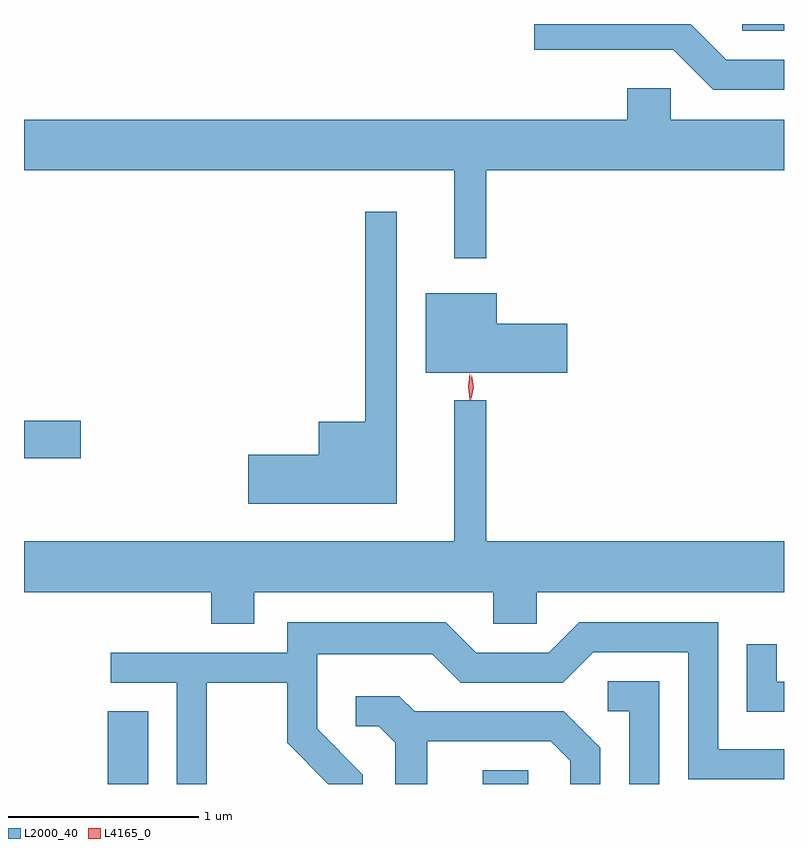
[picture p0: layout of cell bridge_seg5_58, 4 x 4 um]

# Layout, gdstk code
import gdstk
lib = gdstk.Library(unit=1e-6, precision=1e-09)
def R(c, l, rs):  # rectangles x0, y0, x1, y1
    for r in rs: c.add(gdstk.rectangle(r[:2], r[2:], *l))
def P(c, l, *ps):  # polygons
    for p in ps: c.add(gdstk.Polygon(p, *l))
L2000_40 = (2000, 40)
L4165_0 = (4165, 0)

bridge_seg5_58 = lib.new_cell('bridge_seg5_58')
R(bridge_seg5_58, L2000_40, [(1269.426,1464.667,1269.639,1465.049), (1271.401,1464.667,1271.639,1464.739), (1268.986,1466.381,1269.284,1466.579), (1272.766,1468.631,1272.986,1468.667)])
P(bridge_seg5_58, L2000_40, [(1272.986,1468.479),(1272.682,1468.479),(1272.494,1468.667),(1271.671,1468.667),(1271.671,1468.531),(1272.404,1468.531),(1272.614,1468.321),(1272.986,1468.321)],
  [(1271.419,1467.896),(1272.986,1467.896),(1272.986,1468.164),(1272.389,1468.164),(1272.389,1468.329),(1272.161,1468.329),(1272.161,1468.164),(1268.986,1468.164),(1268.986,1467.896),(1271.251,1467.896),(1271.251,1467.433),(1271.419,1467.433)],
  [(1270.949,1467.678),(1270.781,1467.678),(1270.781,1466.574),(1270.536,1466.574),(1270.536,1466.399),(1270.166,1466.399),(1270.166,1466.141),(1270.949,1466.141)],
  [(1271.844,1467.089),(1271.474,1467.089),(1271.474,1467.249),(1271.101,1467.249),(1271.101,1466.831),(1271.844,1466.831)],
  [(1270.199,1465.676),(1271.456,1465.676),(1271.456,1465.511),(1271.684,1465.511),(1271.684,1465.676),(1272.986,1465.676),(1272.986,1465.944),(1271.419,1465.944),(1271.419,1466.688),(1271.251,1466.688),(1271.251,1465.944),(1268.986,1465.944),(1268.986,1465.676),(1269.971,1465.676),(1269.971,1465.511),(1270.199,1465.511)],
  [(1269.949,1465.201),(1270.371,1465.201),(1270.371,1464.884),(1270.588,1464.667),(1270.769,1464.667),(1270.769,1464.717),(1270.529,1464.957),(1270.529,1465.351),(1271.134,1465.351),(1271.284,1465.201),(1271.822,1465.201),(1271.982,1465.361),(1272.481,1465.361),(1272.481,1464.691),(1272.986,1464.691),(1272.986,1464.849),(1272.639,1464.849),(1272.639,1465.519),(1271.909,1465.519),(1271.749,1465.359),(1271.367,1465.359),(1271.207,1465.519),(1270.371,1465.519),(1270.371,1465.359),(1269.443,1465.359),(1269.443,1465.201),(1269.791,1465.201),(1269.791,1464.667),(1269.949,1464.667)],
  [(1272.986,1465.204),(1272.949,1465.204),(1272.949,1465.403),(1272.791,1465.403),(1272.791,1465.046),(1272.986,1465.046)],
  [(1272.329,1465.209),(1272.058,1465.209),(1272.058,1465.051),(1272.171,1465.051),(1272.171,1464.667),(1272.329,1464.667)],
  [(1271.109,1464.891),(1271.759,1464.891),(1271.861,1464.789),(1271.861,1464.667),(1272.019,1464.667),(1272.019,1464.857),(1271.827,1465.049),(1271.042,1465.049),(1270.962,1465.129),(1270.733,1465.129),(1270.733,1464.971),(1270.854,1464.971),(1270.941,1464.884),(1270.941,1464.667),(1271.109,1464.667)])
P(bridge_seg5_58, L4165_0, [(1271.341,1466.693),(1271.34,1466.694),(1271.332,1466.756),(1271.342,1466.819),(1271.343,1466.82),(1271.343,1466.819),(1271.352,1466.756),(1271.341,1466.694)],
  [(1271.333,1466.69),(1271.333,1466.69),(1271.323,1466.758),(1271.331,1466.825),(1271.332,1466.826),(1271.332,1466.825),(1271.342,1466.758),(1271.334,1466.69)])

lib.write_gds('bridge_seg5_58.gds')
